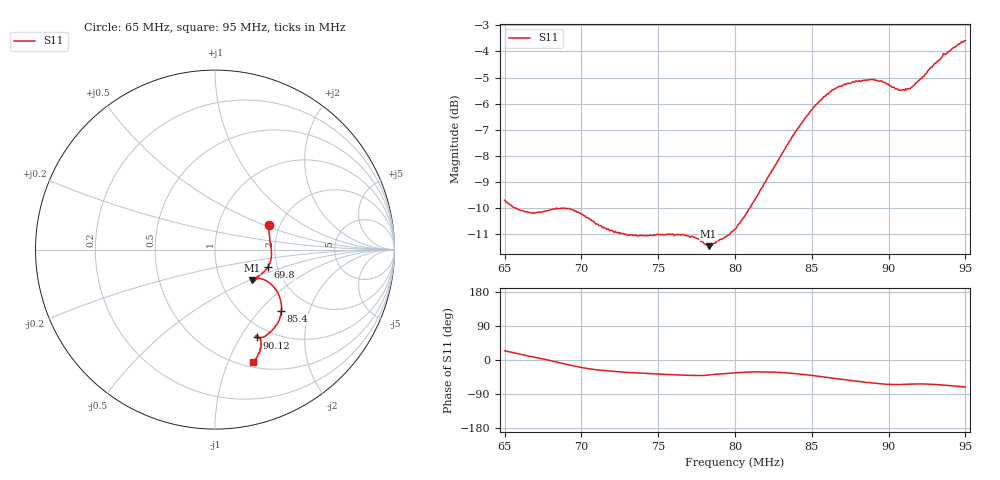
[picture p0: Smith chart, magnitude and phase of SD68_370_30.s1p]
! NanoVNA-App
! Date: 2025-08-09 12:47:47
! Start: 65MHz Stop: 95MHz Points: 401
! S-Parameter data: F S11
# Hz S RI R 50
!  Frequency  S11_Real  S11_Imag
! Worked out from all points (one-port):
!   401 points, 65 MHz to 95 MHz, reference 50 ohm
!   lowest |S11| = -11.4 dB at 78.28 MHz (marker M1), VSWR 1.73, Z = 70.4 - j25.9 ohm
!   |S11| at or under -10 dB: 65.75 MHz to 68.35 MHz (2.596 MHz wide, 3.87 % of centre); 68.40798 MHz to 68.65698 MHz (249 kHz wide, 0.363 % of centre); 68.95 MHz to 80.94 MHz (12 MHz wide, 16 % of centre)
!   S11 on the Smith chart (normalised r, x): 65 MHz: 1.75, +0.53; 69.8 MHz: 1.79, -0.38; 85.4 MHz: 1.45, -1.33; 90.12 MHz: 0.85, -1.19; 95 MHz: 0.55, -1.24
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6.5e7  0.2987 0.1346
6.59e7  0.302 0.0884
6.68e7  0.3069 0.0459
6.875e7  0.313 -0.0481
6.98e7  0.2957 -0.096
7.0925e7  0.2662 -0.1271
7.25e7  0.2434 -0.147
7.625e7  0.2183 -0.1786
7.7525e7  0.2089 -0.1818
7.8275e7  0.206 -0.171
8e7  0.2386 -0.1624
8.0825e7  0.2642 -0.165
8.1875e7  0.3003 -0.1832
8.285e7  0.3313 -0.211
8.375e7  0.3546 -0.2518
8.465e7  0.3691 -0.2975
8.54e7  0.3694 -0.3412
8.63e7  0.3581 -0.3931
8.75e7  0.3231 -0.4429
8.9e7  0.2731 -0.487
8.9675e7  0.2471 -0.4922
9.0125e7  0.2347 -0.4894
9.0725e7  0.2283 -0.4809
9.125e7  0.2367 -0.4802
9.215e7  0.2529 -0.5
9.3125e7  0.2563 -0.5451
9.3725e7  0.2475 -0.5728
9.5e7  0.2129 -0.627
